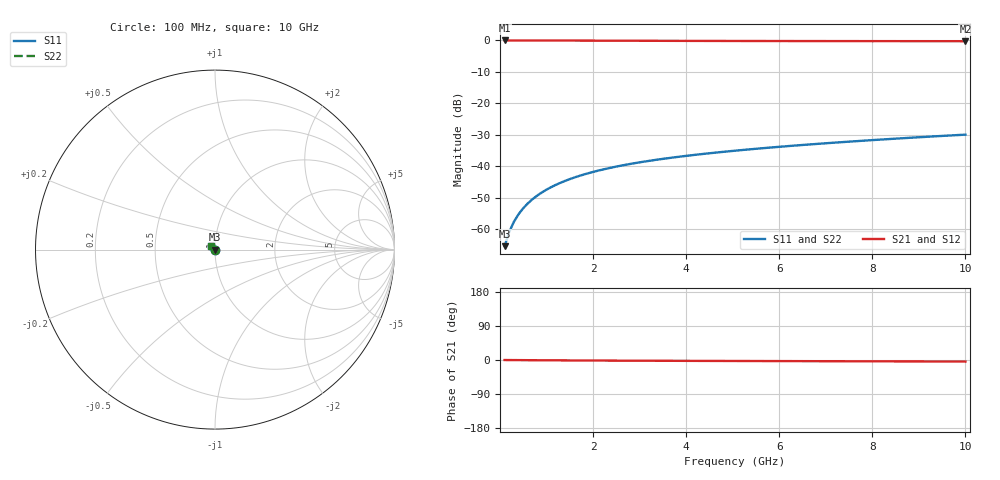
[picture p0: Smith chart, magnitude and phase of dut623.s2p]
! Touchstone file exported from HFSS 2024.1.0
!  File:  C:/UserFiles/LocalFiles/RDL_TSV_Batchsim/temp_TSV1_623_1779789443.aedt
!  Generated:  06:03:30 PM May 26, 2026
!  Design:  TSV1
!  Project:  temp_TSV1_623_1779789443
!  Setup:  Setup1
!  Solution:  Sweep
! Variables:
!  dtsv = 5.8um
!  hbump = 3um
!  htsv = 55.53um
!  lrdl = 252.1521522um
!  p = 40
!  p1 = 54.7um
!  t = 500um
!  trdl = 3um
!  wrdl = 24.89489489um
# GHz S MA R 50.000000
! Terminal data exported
! Port[1] = TSV22_T1
! Port[2] = TSV22_T2
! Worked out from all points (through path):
!   100 points, 100 MHz to 10 GHz, reference 50 ohm
!   highest |S21| = 0.00 dB at 100 MHz (marker M1); lowest = -0.2 dB at 10 GHz (marker M2)
!   lowest |S11| = -65.3 dB at 100 MHz (marker M3), VSWR 1.00, Z = 50 - j0.044 ohm
!   |S11| at or under -10 dB: start of sweep to end of sweep
!   |S22| runs from -65.3 to -29.9 dB; largest |S21 - S12| = 4e-15
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0.1  0.0005407 -54.4  0.9996 -0.1  0.9996 -0.1  0.0005407 -54.4
! Gamma 0 0 0 0
! Port Impedance 50 0 50 0
0.2  0.0009129 -74.2  0.9996 -0.2  0.9996 -0.2  0.0009129 -74.2
0.3  0.001321 -83.9  0.9995 -0.2  0.9995 -0.2  0.001321 -83.9
0.4  0.001741 -90.2  0.9993 -0.3  0.9993 -0.3  0.001741 -90.2
0.5  0.002166 -95.0  0.9991 -0.4  0.9991 -0.4  0.002166 -95.0
0.6  0.002591 -99.1  0.9989 -0.5  0.9989 -0.5  0.002591 -99.1
0.7  0.003015 -102.7  0.9986 -0.6  0.9986 -0.6  0.003015 -102.7
0.8  0.003437 -106.0  0.9983 -0.6  0.9983 -0.6  0.003437 -106.0
0.9  0.003855 -109.1  0.998 -0.7  0.998 -0.7  0.003855 -109.1
1.1  0.004681 -115.0  0.9973 -0.8  0.9973 -0.8  0.004681 -115.0
1.4  0.005885 -123.0  0.996 -1.0  0.996 -1.0  0.005885 -123.0
1.6  0.006664 -128.1  0.9951 -1.2  0.9951 -1.2  0.006664 -128.1
1.8  0.007423 -132.9  0.9941 -1.3  0.9941 -1.3  0.007423 -132.9
2.1  0.008523 -139.8  0.9926 -1.5  0.9926 -1.5  0.008523 -139.8
2.5  0.009925 -148.2  0.9907 -1.7  0.9907 -1.7  0.009925 -148.2
2.9  0.01126 -156.0  0.9887 -1.8  0.9887 -1.8  0.01126 -156.0
3.4  0.01285 -164.8  0.9865 -2.0  0.9865 -2.0  0.01285 -164.8
4.2  0.01527 -176.9  0.9834 -2.3  0.9834 -2.3  0.01527 -176.9
5.1  0.01789 171.7  0.9806 -2.6  0.9806 -2.6  0.01789 171.7
6.7  0.02243 156.3  0.9771 -3.1  0.9771 -3.1  0.02243 156.3
8.4  0.02728 144.4  0.9746 -3.6  0.9746 -3.6  0.02728 144.5
10  0.03192 136.1  0.973 -4.1  0.973 -4.1  0.03192 136.1
